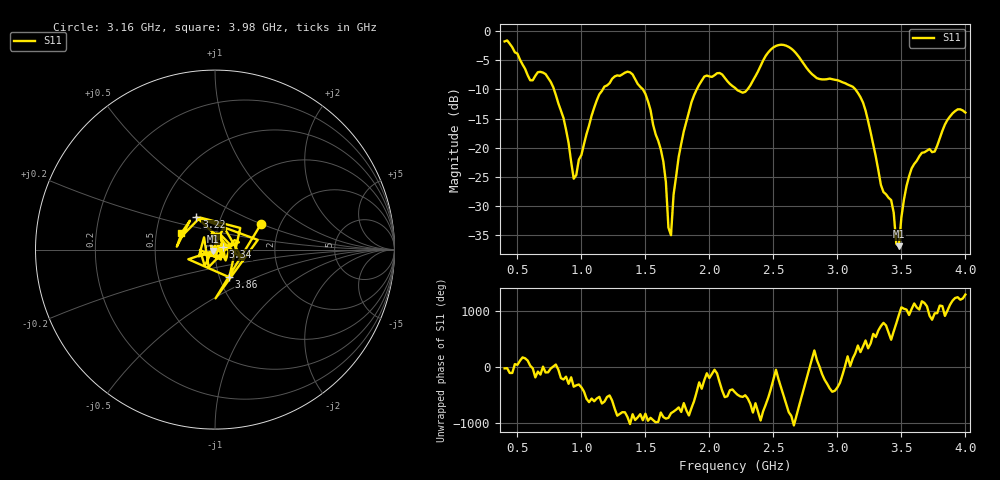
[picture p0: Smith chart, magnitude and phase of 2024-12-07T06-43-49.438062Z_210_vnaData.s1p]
!Created with skrf (http://scikit-rf.org).
# Hz S RI R 50.0
!freq ReS11 ImS11
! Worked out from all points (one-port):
!   181 points, 400 MHz to 4 GHz, reference 50 ohm
!   lowest |S11| = -36.9 dB at 3.48 GHz (marker M1), VSWR 1.03, Z = 48.8 - j0.799 ohm
!   |S11| at or under -10 dB: 785.7 MHz to 1.167 GHz (381.5 MHz wide, 39.1 % of centre); 1.481 GHz to 1.901 GHz (420.6 MHz wide, 24.9 % of centre); 3.141 GHz to end of sweep (the widest 3 of 4)
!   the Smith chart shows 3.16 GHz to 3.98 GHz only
!   S11 on the Smith chart (normalised r, x): 3.16 GHz: 1.60, +0.50; 3.22 GHz: 0.77, +0.29; 3.34 GHz: 1.09, +0.03; 3.86 GHz: 1.11, -0.35; 3.98 GHz: 0.67, +0.13
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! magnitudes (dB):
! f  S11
! 400 MHz  -1.8
! 600 MHz  -8.4
! 720 MHz  -7.4
! 860 MHz  -14.9
! 940 MHz  -25.3
! 1.14 GHz  -10.8
! 1.3 GHz  -7.7
! 1.52 GHz  -12.0
! 1.64 GHz  -22.4
! 1.68 GHz  -33.7
! 1.7 GHz  -35.0
! 1.76 GHz  -21.6
! 1.86 GHz  -12.2
! 1.96 GHz  -7.8
! 2.2 GHz  -9.7
! 2.28 GHz  -10.4
! 2.5 GHz  -2.8
! 2.66 GHz  -3.4
! 3.1 GHz  -9.4
! 3.16 GHz  -10.6
! 3.22 GHz  -13.6
! 3.34 GHz  -26.4
! 3.42 GHz  -29.0
! 3.48 GHz  -36.9
! 3.56 GHz  -24.9
! 3.86 GHz  -15.2
! 3.98 GHz  -13.6
! 4 GHz  -14.0
